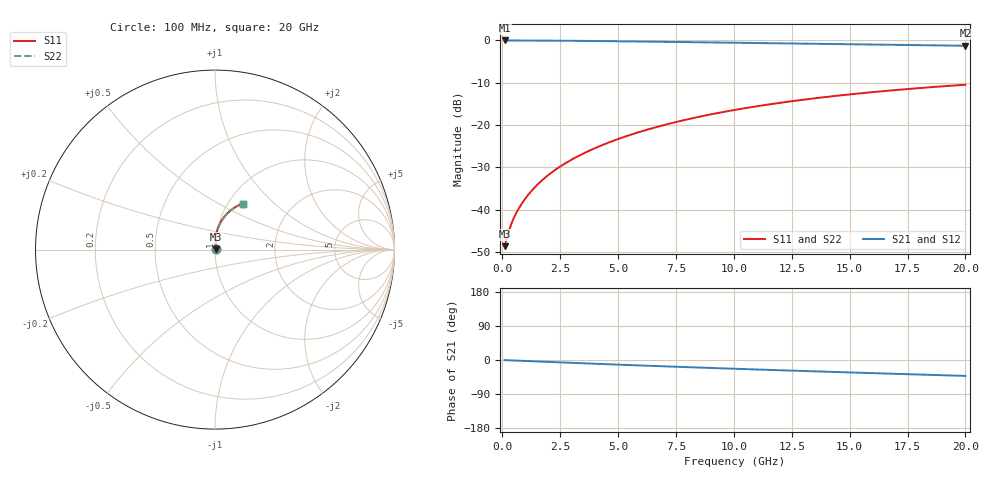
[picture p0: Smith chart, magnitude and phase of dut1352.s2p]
! Touchstone file exported from HFSS 2024.1.0
!  File:  C:/UserFiles/LocalFiles/RDL_TSV_Batchsim/temp_RDL_bottom_1352_1780370367.aedt
!  Generated:  11:21:50 AM Jun  2, 2026
!  Design:  RDL_bottom
!  Project:  temp_RDL_bottom_1352_1780370367
!  Setup:  Setup1
!  Solution:  Sweep
! Variables:
!  dtsv = 10.80580581um
!  hbump = 3um
!  htsv = 58.24um
!  ldown = 672.76um
!  lrdl = 100um
!  p = 40
!  p1 = 40.28um
!  rhole = 1um
!  t = 450um
!  tdown = 3.18um
!  trdl = 3.915915916um
!  wdown = 23.96um
!  wrdl = 20um
# GHz S MA R 50.000000
! Terminal data exported
! Port[1] = RDL1_T1
! Port[2] = RDL1_T2
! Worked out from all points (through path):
!   200 points, 100 MHz to 20 GHz, reference 50 ohm
!   highest |S21| = -0.03 dB at 100 MHz (marker M1); lowest = -1.3 dB at 20 GHz (marker M2)
!   group delay of S21, straight-line fit = 5.77 ps
!   lowest |S11| = -48.6 dB at 100 MHz (marker M3), VSWR 1.01, Z = 50.3 + j0.159 ohm
!   |S11| at or under -10 dB: start of sweep to end of sweep
!   |S22| runs from -48.6 to -10.5 dB; largest |S21 - S12| = 2.7e-15
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0.1  0.003728 25.1  0.9966 -0.3  0.9966 -0.3  0.003728 25.1
! Gamma 0 0 0 0
! Port Impedance 50 0 50 0
0.3  0.005816 49.2  0.9961 -0.8  0.9961 -0.8  0.005816 49.2
0.4  0.006929 54.8  0.9958 -1.1  0.9958 -1.1  0.00693 54.8
0.5  0.008031 59.1  0.9956 -1.3  0.9956 -1.3  0.008031 59.1
0.6  0.009133 62.4  0.9954 -1.6  0.9954 -1.6  0.009133 62.4
0.8  0.01137 67.6  0.9949 -2.1  0.9949 -2.1  0.01137 67.6
1  0.01366 71.3  0.9945 -2.6  0.9945 -2.6  0.01366 71.3
1.2  0.01602 74.2  0.994 -3.1  0.994 -3.1  0.01602 74.2
1.7  0.02213 78.8  0.9927 -4.3  0.9927 -4.3  0.02213 78.9
2.2  0.02851 81.6  0.9909 -5.6  0.9909 -5.6  0.02851 81.6
2.8  0.03648 83.6  0.9883 -7.0  0.9883 -7.0  0.03648 83.7
3.5  0.0462 85.0  0.9846 -8.7  0.9846 -8.7  0.0462 85.0
4.2  0.05636 85.5  0.9805 -10.4  0.9805 -10.4  0.05636 85.6
5  0.06845 85.6  0.9752 -12.3  0.9752 -12.3  0.06846 85.6
5.9  0.08258 85.1  0.9688 -14.3  0.9688 -14.3  0.0826 85.1
6.8  0.09714 84.2  0.962 -16.3  0.962 -16.3  0.09717 84.2
8.4  0.1236 81.8  0.9496 -19.8  0.9496 -19.8  0.1237 81.8
10.1  0.152 78.7  0.9364 -23.3  0.9364 -23.3  0.1521 78.8
11.7  0.1784 75.6  0.924 -26.5  0.924 -26.5  0.1785 75.6
13.4  0.2056 72.1  0.911 -29.8  0.911 -29.8  0.2057 72.1
16.7  0.2551 65.4  0.8866 -36.0  0.8866 -36.0  0.2552 65.4
20  0.2994 58.9  0.863 -42.0  0.863 -42.0  0.2996 59.0
